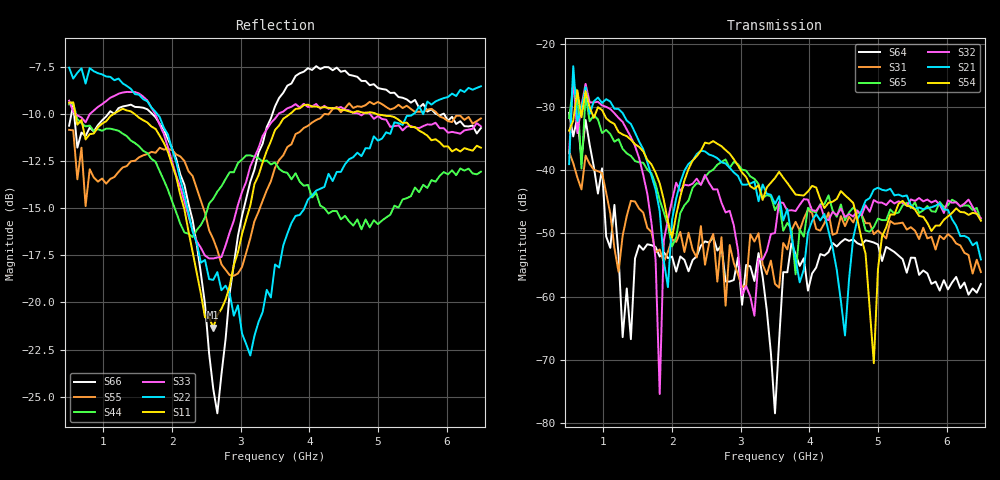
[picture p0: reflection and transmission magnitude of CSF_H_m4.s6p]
!Keysight Technologies,M9804A,MY58100912,A.14.10.03
!Date: Thursday, April 27, 2023 10:28:33
!Correction: S11(C  6-Port  )
!S12(C  6-Port  )
!S13(C  6-Port  )
!S14(C  6-Port  )
!S15(C  6-Port  )
!S16(C  6-Port  )
!S21(C  6-Port  )
!S22(C  6-Port  )
!S23(C  6-Port  )
!S24(C  6-Port  )
!S25(C  6-Port  )
!S26(C  6-Port  )
!S31(C  6-Port  )
!S32(C  6-Port  )
!S33(C  6-Port  )
!S34(C  6-Port  )
!S35(C  6-Port  )
!S36(C  6-Port  )
!S41(C  6-Port  )
!S42(C  6-Port  )
!S43(C  6-Port  )
!S44(C  6-Port  )
!S45(C  6-Port  )
!S46(C  6-Port  )
!S51(C  6-Port  )
!S52(C  6-Port  )
!S53(C  6-Port  )
!S54(C  6-Port  )
!S55(C  6-Port  )
!S56(C  6-Port  )
!S61(C  6-Port  )
!S62(C  6-Port  )
!S63(C  6-Port  )
!S64(C  6-Port  )
!S65(C  6-Port  )
!S66(C  6-Port  )
!S6P File: Measurement: :
# Hz S  RI  R 50
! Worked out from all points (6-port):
!   101 points, 500 MHz to 6.5 GHz, reference 50 ohm
!   strongest paths, dB at 500 MHz, 2 GHz, 3.5 GHz, 5 GHz, 6.5 GHz:
!     S54: -33.8, -50.7, -41.2, -55.7, -48.0
!     S21: -39.1, -47.8, -45.3, -42.8, -54.1
!     S32: -37.4, -44.7, -49.9, -45.1, -47.6
!     S65: -31.8, -52.1, -46.3, -47.7, -47.9
!     S31: -37.1, -50.9, -58.0, -49.5, -56.1
!     S64: -30.9, -53.7, -78.4, -51.7, -58.0
!   lowest |S11| = -21.3 dB at 2.6 GHz (marker M1), VSWR 1.19, Z = 42.4 + j2.31 ohm
!   |S11| at or under -10 dB: 592.2 MHz to 1.14 GHz (547.6 MHz wide, 63.2 % of centre); 1.462 GHz to 3.71 GHz (2.248 GHz wide, 86.9 % of centre); 4.991 GHz to end of sweep
